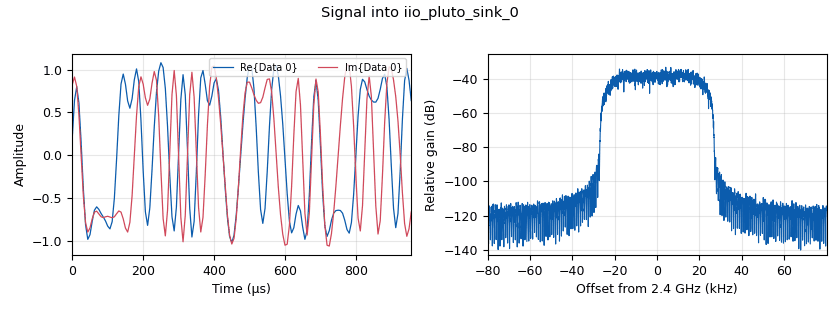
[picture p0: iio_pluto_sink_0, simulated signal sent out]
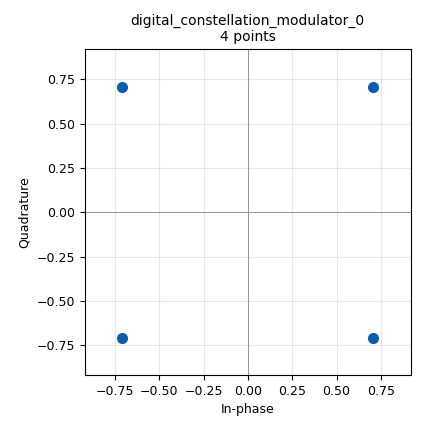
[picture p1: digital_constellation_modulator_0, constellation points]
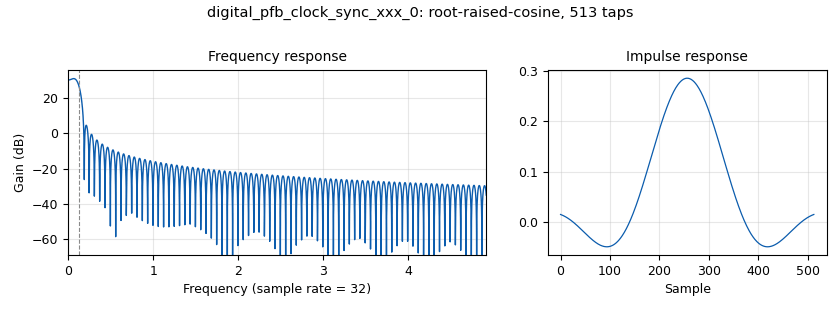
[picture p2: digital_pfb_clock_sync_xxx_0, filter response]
options:
  parameters:
    generate_options: qt_gui
    id: QPSK
    output_language: python
    title: Not titled yet
  states: {}

blocks:
- name: RRC_Taps
  id: variable
  parameters:
    value: firdes.root_raised_cosine(32,32,1/sps,excess_bw,4*sps*32)
  states: {}
- name: excess_bw
  id: variable
  parameters:
    value: '0.35'
  states: {}
- name: qpsk
  id: variable_constellation_rect
  parameters:
    const_points: '[-0.707-0.707j, -0.707+0.707j, 0.707+0.707j, 0.707-0.707j]'
    imag_sect: '2'
    real_sect: '2'
    rot_sym: '4'
    sym_map: '[0,1,2,3]'
    w_imag_sect: '1'
    w_real_sect: '1'
  states: {}
- name: samp_rate
  id: variable
  parameters:
    value: '32000'
  states: {}
- name: sps
  id: variable
  parameters:
    value: '4'
  states: {}
- name: variable_adaptive_algorithm_0
  id: variable_adaptive_algorithm
  parameters:
    cons: qpsk
    modulus: '4'
    step_size: '.0001'
    type: cma
  states: {}
- name: analog_random_source_x_0
  id: analog_random_source_x
  parameters:
    max: '256'
    min: '0'
    num_samps: '10000'
    repeat: 'True'
    type: byte
  states: {}
- name: blocks_throttle2_0
  id: blocks_throttle2
  parameters:
    samples_per_second: samp_rate
    type: complex
  states: {}
- name: digital_constellation_modulator_0
  id: digital_constellation_modulator
  parameters:
    constellation: qpsk
    differential: 'True'
    excess_bw: excess_bw
    samples_per_symbol: '4'
  states: {}
- name: digital_costas_loop_cc_0
  id: digital_costas_loop_cc
  parameters:
    order: '4'
    w: '0.0628'
  states: {}
- name: digital_linear_equalizer_0
  id: digital_linear_equalizer
  parameters:
    alg: variable_adaptive_algorithm_0
    num_taps: '15'
    sps: '2'
  states: {}
- name: digital_pfb_clock_sync_xxx_0
  id: digital_pfb_clock_sync_xxx
  parameters:
    filter_size: '32'
    init_phase: '16'
    loop_bw: '0.0628'
    max_dev: '1.5'
    osps: '2'
    sps: sps
    taps: RRC_Taps
    type: ccf
  states: {}
- name: iio_pluto_sink_0
  id: iio_pluto_sink
  parameters:
    attenuation1: '10'
    bandwidth: '20000000'
    buffer_size: samp_rate
    cyclic: 'True'
    filter_source: '''Auto'''
    frequency: '2400000000'
    samplerate: samp_rate*5
    type: fc32
    uri: usb:1.4.5
  states: {}
- name: iio_pluto_source_0
  id: iio_pluto_source
  parameters:
    bandwidth: '20000000'
    bbdc: 'True'
    buffer_size: '32768'
    filter_source: '''Auto'''
    frequency: '2400000000'
    gain1: '''fast_attack'''
    quadrature: 'True'
    rfdc: 'True'
    samplerate: samp_rate*5
    type: fc32
    uri: usb:1.4.5
  states: {}
- name: qtgui_const_sink_x_0
  id: qtgui_const_sink_x
  parameters:
    size: '1024'
    type: complex
  states: {}
- name: qtgui_freq_sink_x_0
  id: qtgui_freq_sink_x
  parameters:
    autoscale: 'True'
    average: '0.1'
    bw: '100000'
    fc: '0'
    fftsize: '1024'
    type: complex
  states: {}
- name: qtgui_time_sink_x_0
  id: qtgui_time_sink_x
  parameters:
    size: '1024'
    srate: samp_rate
    type: complex
    ymax: '5'
    ymin: '-5'
  states: {}

connections:
- [analog_random_source_x_0, '0', digital_constellation_modulator_0, '0']
- [blocks_throttle2_0, '0', iio_pluto_sink_0, '0']
- [digital_constellation_modulator_0, '0', blocks_throttle2_0, '0']
- [digital_costas_loop_cc_0, '0', qtgui_const_sink_x_0, '0']
- [digital_costas_loop_cc_0, '0', qtgui_freq_sink_x_0, '0']
- [digital_costas_loop_cc_0, '0', qtgui_time_sink_x_0, '0']
- [digital_linear_equalizer_0, '0', digital_costas_loop_cc_0, '0']
- [digital_pfb_clock_sync_xxx_0, '0', digital_linear_equalizer_0, '0']
- [iio_pluto_source_0, '0', digital_pfb_clock_sync_xxx_0, '0']

metadata:
  file_format: 1
  grc_version: 3.10.7.0
